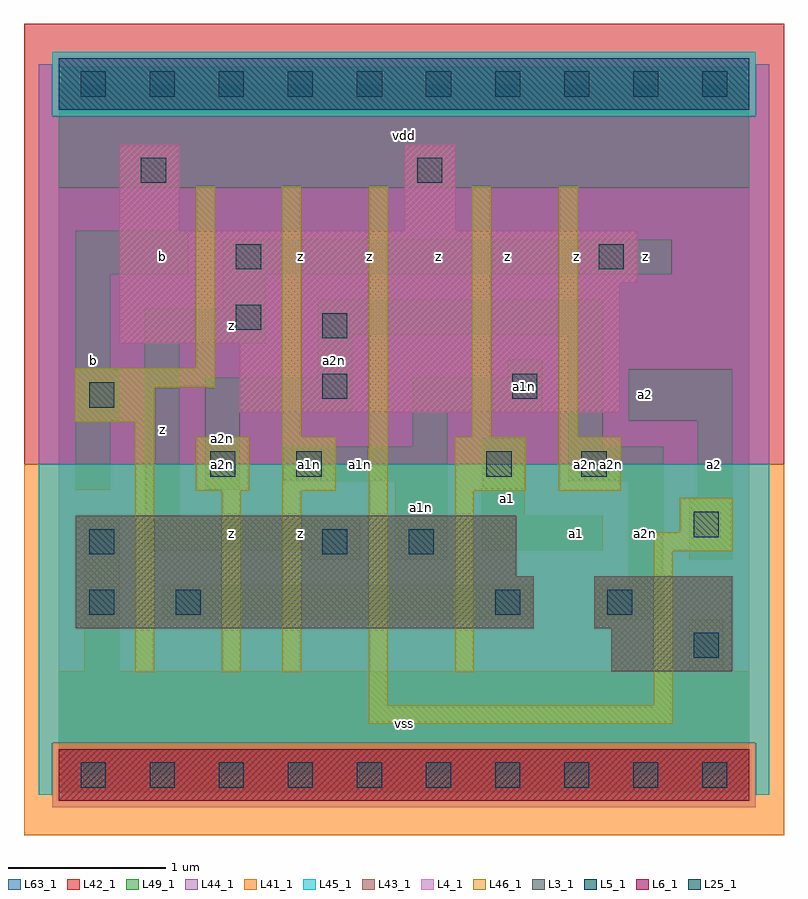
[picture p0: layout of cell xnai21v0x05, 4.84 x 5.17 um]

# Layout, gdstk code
import gdstk
lib = gdstk.Library(unit=1e-6, precision=1e-09)
def R(c, l, rs):  # rectangles x0, y0, x1, y1
    for r in rs: c.add(gdstk.rectangle(r[:2], r[2:], *l))
def A(c, l, x, y, w, h, nx, ny, dx, dy):  # array of equal rectangles
    R(c, l, [(x+i*dx, y+j*dy, x+i*dx+w, y+j*dy+h) for i in range(nx) for j in range(ny)])
L3_1 = (3, 1)
L4_1 = (4, 1)
L5_1 = (5, 1)
L6_1 = (6, 1)
L25_1 = (25, 1)
L41_1 = (41, 1)
L42_1 = (42, 1)
L43_1 = (43, 1)
L44_1 = (44, 1)
L45_1 = (45, 1)
L46_1 = (46, 1)
L49_1 = (49, 1)
L63_1 = (63, 1)

xnai21v0x05 = lib.new_cell('xnai21v0x05')
R(xnai21v0x05, L3_1, [(3.52,0.66,4.29,0.935), (0.11,0.935,3.025,1.265), (3.41,0.935,4.29,1.265), (0.11,1.265,2.915,1.65)])
R(xnai21v0x05, L4_1, [(1.155,2.31,3.575,2.75), (0.385,2.75,3.575,3.135), (0.385,3.135,3.685,3.465), (0.385,3.465,0.77,4.015), (2.2,3.465,2.53,4.015)])
R(xnai21v0x05, L5_1, [(0,4.235,4.4,4.565)])
R(xnai21v0x05, L6_1, [(0,-0.165,4.4,0.165)])
A(xnai21v0x05, L25_1, 0.14, -0.08, 0.16, 0.16, 10, 2, 0.44, 4.4)
R(xnai21v0x05, L25_1, [(4.045,0.745,4.205,0.905), (0.195,1.02,0.355,1.18), (0.745,1.02,0.905,1.18), (2.78,1.02,2.94,1.18), (3.495,1.02,3.655,1.18), (0.195,1.405,0.355,1.565), (1.68,1.405,1.84,1.565), (2.23,1.405,2.39,1.565), (4.045,1.515,4.205,1.675), (0.965,1.9,1.125,2.06), (1.515,1.9,1.675,2.06), (2.725,1.9,2.885,2.06), (3.33,1.9,3.49,2.06), (0.195,2.34,0.355,2.5), (1.68,2.395,1.84,2.555), (2.89,2.395,3.05,2.555), (1.68,2.78,1.84,2.94), (1.13,2.835,1.29,2.995), (1.13,3.22,1.29,3.38), (3.44,3.22,3.6,3.38), (0.525,3.77,0.685,3.93), (2.285,3.77,2.445,3.93)])
R(xnai21v0x05, L41_1, [(-0.22,-0.385,4.62,1.98)])
R(xnai21v0x05, L42_1, [(-0.22,1.98,4.62,4.785)])
R(xnai21v0x05, L43_1, [(0,-0.165,4.4,0.165), (3.52,0.66,4.29,0.935), (0.11,0.935,3.025,1.265), (3.41,0.935,4.29,1.265), (0.11,1.265,2.915,1.65), (1.155,2.31,3.575,2.75), (0.385,2.75,3.575,3.135), (0.385,3.135,3.685,3.465), (0.385,3.465,0.77,4.015), (2.2,3.465,2.53,4.015), (0,4.235,4.4,4.565)])
R(xnai21v0x05, L44_1, [(-0.04,-0.205,4.44,0.205), (-0.125,1.98,4.525,4.195), (-0.125,4.195,-0.04,4.525), (4.44,4.195,4.525,4.525)])
R(xnai21v0x05, L45_1, [(-0.125,-0.125,-0.04,0.205), (4.44,-0.125,4.525,0.205), (-0.125,0.205,4.525,1.98), (-0.04,4.195,4.44,4.605)])
R(xnai21v0x05, L46_1, [(1.975,0.325,3.91,0.445), (1.975,0.445,2.095,3.745), (3.79,0.445,3.91,1.425), (0.49,0.655,0.61,2.25), (1.04,0.655,1.16,1.81), (1.425,0.655,1.545,1.81), (2.525,0.655,2.645,1.81), (3.79,1.425,4.295,1.545), (3.955,1.545,4.295,1.765), (0.875,1.81,1.215,2.15), (1.425,1.81,1.765,2.15), (2.525,1.81,2.975,2.15), (3.185,1.81,3.58,2.15), (1.425,2.15,1.545,3.745), (2.635,2.15,2.755,3.745), (3.185,2.15,3.305,3.745), (0.105,2.25,0.61,2.47), (0.105,2.47,0.995,2.59), (0.875,2.59,0.995,3.745)])
R(xnai21v0x05, L49_1, [(0,-0.11,4.4,0.66), (0.165,0.66,0.385,1.65), (4.015,0.66,4.235,0.99), (0.66,0.99,3.025,1.21), (3.41,0.99,3.85,1.21), (3.63,1.21,3.85,1.87), (1.595,1.375,1.925,1.43), (2.145,1.375,2.475,1.87), (4.015,1.375,4.29,1.76), (0.55,1.43,1.925,1.65), (2.695,1.43,3.465,1.65), (0.55,1.65,0.77,2.75), (2.695,1.65,2.97,2.145), (4.07,1.76,4.29,2.255), (0.11,1.815,0.33,2.255), (0.935,1.815,1.155,2.31), (1.43,1.87,2.475,2.09), (3.245,1.87,3.85,2.09), (2.255,2.09,2.475,2.31), (3.245,2.09,3.465,2.805), (0.11,2.255,0.385,2.585), (3.63,2.255,4.29,2.585), (0.935,2.31,1.87,2.53), (2.255,2.31,3.08,2.53), (1.65,2.53,1.87,2.805), (2.86,2.53,3.08,2.64), (0.11,2.585,0.33,3.19), (0.55,2.75,1.32,2.97), (1.65,2.805,3.465,3.025), (1.045,2.97,1.32,3.19), (0.11,3.19,0.825,3.465), (1.045,3.19,3.905,3.41), (0,3.74,4.4,4.51)])
R(xnai21v0x05, L63_1, [(0,0,4.4,4.4)])
xnai21v0x05.add(gdstk.Label('a2n', (1.045,1.98), layer=49, texttype=1))
xnai21v0x05.add(gdstk.Label('a1n', (1.595,1.98), layer=49, texttype=1))
xnai21v0x05.add(gdstk.Label('a2n', (3.355,1.98), layer=49, texttype=1))
xnai21v0x05.add(gdstk.Label('b', (0.22,2.64), layer=49, texttype=1))
xnai21v0x05.add(gdstk.Label('z', (1.1,1.54), layer=49, texttype=1))
xnai21v0x05.add(gdstk.Label('z', (1.54,1.54), layer=49, texttype=1))
xnai21v0x05.add(gdstk.Label('a2n', (1.045,2.145), layer=49, texttype=1))
xnai21v0x05.add(gdstk.Label('z', (0.66,2.2), layer=49, texttype=1))
xnai21v0x05.add(gdstk.Label('z', (1.1,2.86), layer=49, texttype=1))
xnai21v0x05.add(gdstk.Label('b', (0.66,3.3), layer=49, texttype=1))
xnai21v0x05.add(gdstk.Label('z', (1.54,3.3), layer=49, texttype=1))
xnai21v0x05.add(gdstk.Label('vss', (2.2,0.33), layer=49, texttype=1))
xnai21v0x05.add(gdstk.Label('a1n', (2.31,1.705), layer=49, texttype=1))
xnai21v0x05.add(gdstk.Label('a1n', (1.925,1.98), layer=49, texttype=1))
xnai21v0x05.add(gdstk.Label('a2n', (1.76,2.64), layer=49, texttype=1))
xnai21v0x05.add(gdstk.Label('z', (2.42,3.3), layer=49, texttype=1))
xnai21v0x05.add(gdstk.Label('z', (1.98,3.3), layer=49, texttype=1))
xnai21v0x05.add(gdstk.Label('vdd', (2.2,4.07), layer=49, texttype=1))
xnai21v0x05.add(gdstk.Label('a1', (3.3,1.54), layer=49, texttype=1))
xnai21v0x05.add(gdstk.Label('a1', (2.86,1.76), layer=49, texttype=1))
xnai21v0x05.add(gdstk.Label('a1n', (2.97,2.475), layer=49, texttype=1))
xnai21v0x05.add(gdstk.Label('z', (2.86,3.3), layer=49, texttype=1))
xnai21v0x05.add(gdstk.Label('z', (3.3,3.3), layer=49, texttype=1))
xnai21v0x05.add(gdstk.Label('a2n', (3.74,1.54), layer=49, texttype=1))
xnai21v0x05.add(gdstk.Label('a2', (3.74,2.42), layer=49, texttype=1))
xnai21v0x05.add(gdstk.Label('a2n', (3.52,1.98), layer=49, texttype=1))
xnai21v0x05.add(gdstk.Label('a2', (4.18,1.98), layer=49, texttype=1))
xnai21v0x05.add(gdstk.Label('z', (3.74,3.3), layer=49, texttype=1))

lib.write_gds('xnai21v0x05.gds')
